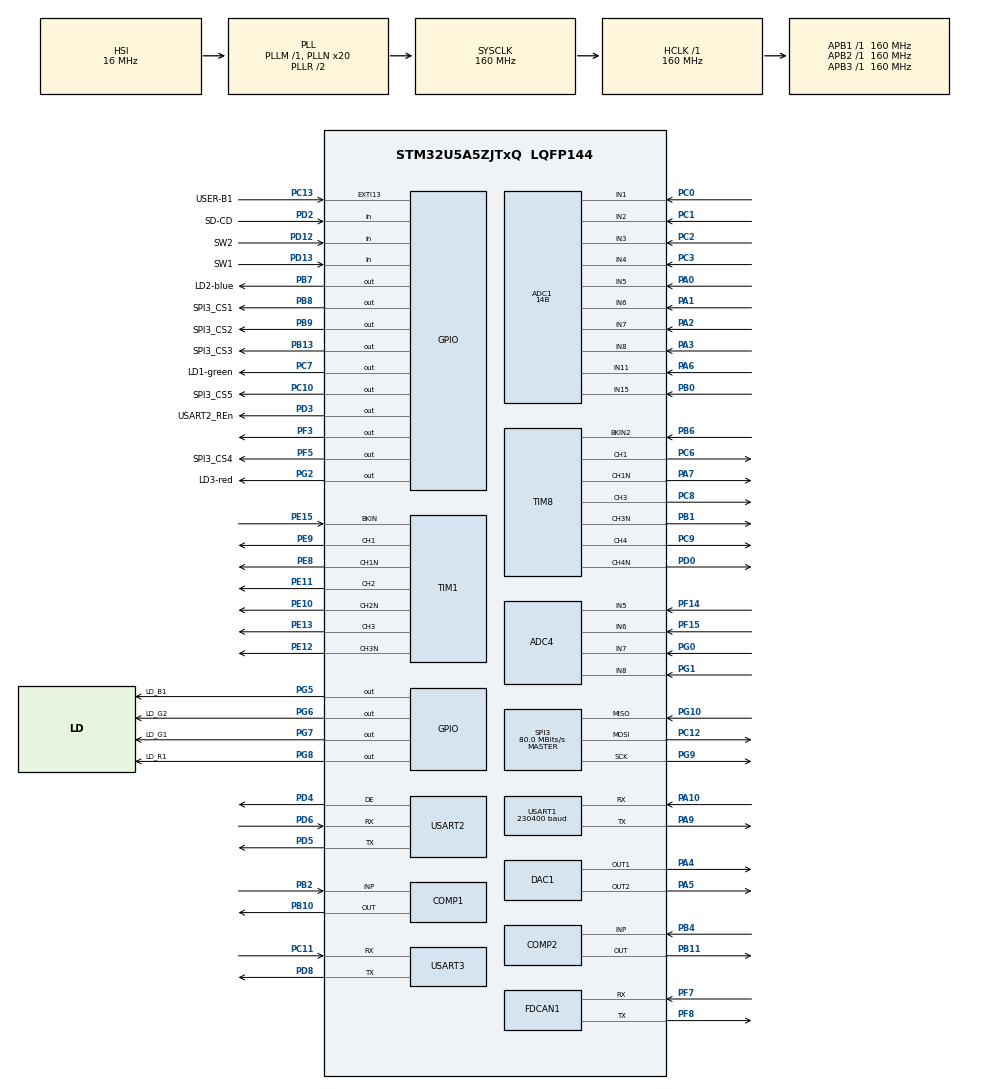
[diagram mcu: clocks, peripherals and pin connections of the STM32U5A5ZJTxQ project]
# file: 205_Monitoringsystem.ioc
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ADC1.Channel-2\#ChannelRegularConversion=ADC_CHANNEL_1
ADC1.ClockPrescaler=ADC_CLOCK_ASYNC_DIV4
ADC1.ContinuousConvMode=DISABLE
ADC1.ConversionDataManagement=ADC_CONVERSIONDATA_DMA_CIRCULAR
ADC1.EnableInjectedConversion=DISABLE
ADC1.EnableRegularConversion=ENABLE
ADC1.ExternalTrigConv=ADC_EXTERNALTRIG_T3_TRGO
ADC1.MonitoredBy-2\#ChannelRegularConversion=__NULL
ADC1.NbrOfConversionFlag=1
ADC1.OffsetNumber-2\#ChannelRegularConversion=ADC_OFFSET_NONE
ADC1.Rank-2\#ChannelRegularConversion=1
ADC1.Resolution=ADC_RESOLUTION_14B
ADC1.SamplingTime-2\#ChannelRegularConversion=ADC_SAMPLETIME_391CYCLES_5
ADC1.master=1
ADC4.Channel-0\#ChannelRegularConversion=ADC_CHANNEL_5
ADC4.ClockPrescaler=ADC_CLOCK_ASYNC_DIV4
ADC4.NbrOfConversionFlag=1
ADC4.OffsetNumber-0\#ChannelRegularConversion=ADC_OFFSET_NONE
ADC4.Rank-0\#ChannelRegularConversion=1
ADC4.RankArg-0\#ChannelRegularConversion=ADC4_REGULAR_RANK_1
ADC4.SamplingTime-0\#ChannelRegularConversion=ADC4_SAMPLINGTIME_COMMON_1
ADC4.SelectedChannel=ADC_CHANNEL_5|ADC_CHANNEL_6|ADC_CHANNEL_7|ADC_CHANNEL_8
CORTEX_M33_NS.AccessPermission-Cortex_Memory_Protection_Unit_Region0_Settings=MPU_REGION_PRIV_RO
CORTEX_M33_NS.AccessPermission-Cortex_Memory_Protection_Unit_Region1_Settings=MPU_REGION_ALL_RW
CORTEX_M33_NS.AllocateAttribute0=MPU_R_ALLOCATE
CORTEX_M33_NS.Attributes0=MPU_ATTRIBUTES_NUMBER0
CORTEX_M33_NS.Attributes1=MPU_ATTRIBUTES_NUMBER1
CORTEX_M33_NS.AttributesIndex-Cortex_Memory_Protection_Unit_Region1_Settings=MPU_ATTRIBUTES_NUMBER1
CORTEX_M33_NS.BaseAddress-Cortex_Memory_Protection_Unit_Region0_Settings=0x08000000
CORTEX_M33_NS.BaseAddress-Cortex_Memory_Protection_Unit_Region1_Settings=0x20000000
CORTEX_M33_NS.Enable-Cortex_Memory_Protection_Unit_Region0_Settings=MPU_REGION_ENABLE
CORTEX_M33_NS.Enable-Cortex_Memory_Protection_Unit_Region1_Settings=MPU_REGION_ENABLE
CORTEX_M33_NS.LimitAddress-Cortex_Memory_Protection_Unit_Region0_Settings=0x083FFFFF
CORTEX_M33_NS.LimitAddress-Cortex_Memory_Protection_Unit_Region1_Settings=0x2026FFFF
CORTEX_M33_NS.MPU_Control=MPU_PRIVILEGED_DEFAULT
CORTEX_M33_NS.Memorytype0=MPU_CACHEABLE
CORTEX_M33_NS.Number-Cortex_Memory_Protection_Unit_Region0_Settings=MPU_REGION_NUMBER0
CORTEX_M33_NS.Number-Cortex_Memory_Protection_Unit_Region1_Settings=MPU_REGION_NUMBER1
CORTEX_M33_NS.userName=CORTEX_M33
DAC1.DAC_Channel-DAC_OUT1_ExtAndInt=DAC_CHANNEL_1
DAC1.DAC_Channel-DAC_OUT2_ExtAndInt=DAC_CHANNEL_2
FDCAN1.CalculateBaudRateNominal=3333333
FDCAN1.CalculateTimeBitNominal=300
FDCAN1.CalculateTimeQuantumNominal=100.0
FLASH.B1_BLOCK_active=true
FLASH.B1_endPage=255
FLASH.B2_BLOCK_active=true
FLASH.B2_Bank=FLASH_BANK_2
FLASH.B2_endPage=255
FLASH.OB_Boot_Configuration_active_NS0=true
FLASH.OB_NSBOOTADD0_Address=0x08000000
GPDMA1.CIRCULARMODE_GPDMACH15=ENABLE
GPDMA1.DESTDATAWIDTH_GPDMACH15=DMA_DEST_DATAWIDTH_HALFWORD
GPDMA1.DESTINC_GPDMACH15=DMA_DINC_INCREMENTED
GPDMA1.IPHANDLE_GPDMACH15-SIMPLEREQUEST_GPDMACH15=__NULL
GPDMA1.REQUEST_GPDMACH15=GPDMA1_REQUEST_ADC1
GPDMA1.SRCDATAWIDTH_GPDMACH15=DMA_SRC_DATAWIDTH_HALFWORD
GPDMA1.TRIGGERPOLARITY_GPDMACH15=DMA_TRIG_POLARITY_MASKED
GTZC.MPCBB1_Area_Privilege=GTZC_MPCBB_REGION_NPRIV
GTZC.MPCBB1_Area_Privilege_Choice=from full Privileged
GTZC.MPCBB1_Area_Privilege_Size=0x000C0000
GTZC.MPCBB1_PrivConfig_array=00000000\:00000000\:00000000\:00000000\:00000000\:00000000\:00000000\:00000000\:00000000\:00000000\:00000000\:00000000\:00000000\:00000000\:00000000\:00000000\:00000000\:00000000\:00000000\:00000000\:00000000\:00000000\:00000000\:00000000\:00000000\:00000000\:00000000\:00000000\:00000000\:00000000\:00000000\:00000000\:00000000\:00000000\:00000000\:00000000\:00000000\:00000000\:00000000\:00000000\:00000000\:00000000\:00000000\:00000000\:00000000\:00000000\:00000000\:00000000
GTZC.MPCBB1_SecConfig_array=00000000\:00000000\:00000000\:00000000\:00000000\:00000000\:00000000\:00000000\:00000000\:00000000\:00000000\:00000000\:00000000\:00000000\:00000000\:00000000\:00000000\:00000000\:00000000\:00000000\:00000000\:00000000\:00000000\:00000000\:00000000\:00000000\:00000000\:00000000\:00000000\:00000000\:00000000\:00000000\:00000000\:00000000\:00000000\:00000000\:00000000\:00000000\:00000000\:00000000\:00000000\:00000000\:00000000\:00000000\:00000000\:00000000\:00000000\:00000000
GTZC.MPCBB2_Area_Privilege=GTZC_MPCBB_REGION_NPRIV
GTZC.MPCBB2_Area_Privilege_Choice=from full Privileged
GTZC.MPCBB2_Area_Privilege_Size=0x00010000
GTZC.MPCBB2_PrivConfig_array=00000000\:00000000\:00000000\:00000000\:FFFFFFFF\:FFFFFFFF\:FFFFFFFF\:FFFFFFFF\:FFFFFFFF\:FFFFFFFF\:FFFFFFFF\:FFFFFFFF\:FFFFFFFF\:FFFFFFFF\:FFFFFFFF\:FFFFFFFF\:FFFFFFFF\:FFFFFFFF\:FFFFFFFF\:FFFFFFFF\:FFFFFFFF\:FFFFFFFF\:FFFFFFFF\:FFFFFFFF\:FFFFFFFF\:FFFFFFFF\:FFFFFFFF\:FFFFFFFF\:FFFFFFFF\:FFFFFFFF\:FFFFFFFF\:FFFFFFFF\:FFFFFFFF\:FFFFFFFF\:FFFFFFFF\:FFFFFFFF\:FFFFFFFF\:FFFFFFFF\:FFFFFFFF\:FFFFFFFF\:FFFFFFFF\:FFFFFFFF\:FFFFFFFF\:FFFFFFFF\:FFFFFFFF\:FFFFFFFF\:FFFFFFFF\:FFFFFFFF\:FFFFFFFF\:FFFFFFFF\:FFFFFFFF\:FFFFFFFF
GTZC.MPCBB2_SecConfig_array=00000000\:00000000\:00000000\:00000000\:00000000\:00000000\:00000000\:00000000\:00000000\:00000000\:00000000\:00000000\:00000000\:00000000\:00000000\:00000000\:00000000\:00000000\:00000000\:00000000\:00000000\:00000000\:00000000\:00000000\:00000000\:00000000\:00000000\:00000000\:00000000\:00000000\:00000000\:00000000\:00000000\:00000000\:00000000\:00000000\:00000000\:00000000\:00000000\:00000000\:00000000\:00000000\:00000000\:00000000\:00000000\:00000000\:00000000\:00000000\:00000000\:00000000\:00000000\:00000000
GTZC.MPCBB3_Area_Privilege=GTZC_MPCBB_REGION_NPRIV
GTZC.MPCBB3_Area_Privilege_Choice=from full Privileged
GTZC.MPCBB3_Area_Privilege_Size=0x000D0000
GTZC.MPCBB3_PrivConfig_array=00000000\:00000000\:00000000\:00000000\:00000000\:00000000\:00000000\:00000000\:00000000\:00000000\:00000000\:00000000\:00000000\:00000000\:00000000\:00000000\:00000000\:00000000\:00000000\:00000000\:00000000\:00000000\:00000000\:00000000\:00000000\:00000000\:00000000\:00000000\:00000000\:00000000\:00000000\:00000000\:00000000\:00000000\:00000000\:00000000\:00000000\:00000000\:00000000\:00000000\:00000000\:00000000\:00000000\:00000000\:00000000\:00000000\:00000000\:00000000\:00000000\:00000000\:00000000\:00000000
GTZC.MPCBB3_SecConfig_array=00000000\:00000000\:00000000\:00000000\:00000000\:00000000\:00000000\:00000000\:00000000\:00000000\:00000000\:00000000\:00000000\:00000000\:00000000\:00000000\:00000000\:00000000\:00000000\:00000000\:00000000\:00000000\:00000000\:00000000\:00000000\:00000000\:00000000\:00000000\:00000000\:00000000\:00000000\:00000000\:00000000\:00000000\:00000000\:00000000\:00000000\:00000000\:00000000\:00000000\:00000000\:00000000\:00000000\:00000000\:00000000\:00000000\:00000000\:00000000\:00000000\:00000000\:00000000\:00000000
GTZC.MPCBB4_PrivConfig_array=00000000
GTZC.MPCBB4_SecConfig_array=00000000
GTZC.MPCBB5_Area_Privilege=GTZC_MPCBB_REGION_NPRIV
GTZC.MPCBB5_Area_Privilege_Choice=from full Privileged
GTZC.MPCBB5_Area_Privilege_Size=0x000D0000
GTZC.MPCBB5_PrivConfig_array=00000000\:00000000\:00000000\:00000000\:00000000\:00000000\:00000000\:00000000\:00000000\:00000000\:00000000\:00000000\:00000000\:00000000\:00000000\:00000000\:00000000\:00000000\:00000000\:00000000\:00000000\:00000000\:00000000\:00000000\:00000000\:00000000\:00000000\:00000000\:00000000\:00000000\:00000000\:00000000\:00000000\:00000000\:00000000\:00000000\:00000000\:00000000\:00000000\:00000000\:00000000\:00000000\:00000000\:00000000\:00000000\:00000000\:00000000\:00000000\:00000000\:00000000\:00000000\:00000000
GTZC.MPCBB5_SecConfig_array=00000000\:00000000\:00000000\:00000000\:00000000\:00000000\:00000000\:00000000\:00000000\:00000000\:00000000\:00000000\:00000000\:00000000\:00000000\:00000000\:00000000\:00000000\:00000000\:00000000\:00000000\:00000000\:00000000\:00000000\:00000000\:00000000\:00000000\:00000000\:00000000\:00000000\:00000000\:00000000\:00000000\:00000000\:00000000\:00000000\:00000000\:00000000\:00000000\:00000000\:00000000\:00000000\:00000000\:00000000\:00000000\:00000000\:00000000\:00000000\:00000000\:00000000\:00000000\:00000000
Mcu.Family=STM32U5
Mcu.Name=STM32U5A5ZJTxQ
Mcu.Package=LQFP144
NVIC.ADC1_2_IRQn=true\:0\:0\:false\:false\:true\:true\:true\:true
NVIC.EXTI13_IRQn=true\:2\:0\:true\:false\:true\:true\:true\:true
NVIC.GPDMA1_Channel15_IRQn=true\:0\:0\:false\:false\:true\:false\:true\:true
NVIC.PriorityGroup=NVIC_PRIORITYGROUP_4
NVIC.TIM3_IRQn=true\:1\:0\:true\:false\:true\:true\:true\:true
PA0.Mode=IN5-Single-Ended
PA0.Signal=ADC1_IN5
PA1.Mode=IN6-Single-Ended
PA1.Signal=ADC1_IN6
PA10.Mode=Asynchronous
PA10.Signal=USART1_RX
PA13\ (JTMS/SWDIO).Mode=Trace_Asynchronous_SW
PA13\ (JTMS/SWDIO).Signal=DEBUG_JTMS-SWDIO
PA14\ (JTCK/SWCLK).Mode=Trace_Asynchronous_SW
PA14\ (JTCK/SWCLK).Signal=DEBUG_JTCK-SWCLK
PA2.Mode=IN7-Single-Ended
PA2.Signal=ADC1_IN7
PA3.Mode=IN8-Single-Ended
PA3.Signal=ADC1_IN8
PA4.Signal=COMP_DAC11_group
PA5.Signal=COMP_DAC12_group
PA6.Mode=IN11-Single-Ended
PA6.Signal=ADC1_IN11
PA7.Mode=PWM Generation1 CH1 CH1N
PA7.Signal=TIM8_CH1N
PA9.Mode=Asynchronous
PA9.Signal=USART1_TX
PB0.Mode=IN15-Single-Ended
PB0.Signal=ADC1_IN15
PB1.Mode=PWM Generation3 CH3 CH3N
PB1.Signal=TIM8_CH3N
PB10.Mode=ExternalOutput
PB10.Signal=COMP1_OUT
PB11.Mode=ExternalOutput
PB11.Signal=COMP2_OUT
PB13.GPIO_Label=SPI3_CS3
PB13.Signal=GPIO_Output
PB2.Mode=INP
PB2.Signal=COMP1_INP
PB3\ (JTDO/TRACESWO).Mode=Trace_Asynchronous_SW
PB3\ (JTDO/TRACESWO).Signal=DEBUG_JTDO-SWO
PB4\ (NJTRST).Mode=INP
PB4\ (NJTRST).Signal=COMP2_INP
PB6.Mode=Activate-Break-Input-2
PB6.Signal=TIM8_BKIN2
PB7.GPIO_Label=LD2-blue
PB7.Signal=GPIO_Output
PB8.GPIO_Label=SPI3_CS1
PB8.Signal=GPIO_Output
PB9.GPIO_Label=SPI3_CS2
PB9.Signal=GPIO_Output
PC0.Mode=IN1-Single-Ended
PC0.Signal=ADC1_IN1
PC1.Mode=IN2-Single-Ended
PC1.Signal=ADC1_IN2
PC10.GPIO_Label=SPI3_CS5
PC10.Signal=GPIO_Output
PC11.Mode=Asynchronous
PC11.Signal=USART3_RX
PC12.Mode=Full_Duplex_Master
PC12.Signal=SPI3_MOSI
PC13.GPIO_Label=USER-B1
PC13.GPIO_PuPd=GPIO_NOPULL
PC13.Signal=GPXTI13
PC14-OSC32_IN\ (PC14).Mode=LSE-External-Oscillator
PC14-OSC32_IN\ (PC14).Signal=RCC_OSC32_IN
PC15-OSC32_OUT\ (PC15).Mode=LSE-External-Oscillator
PC15-OSC32_OUT\ (PC15).Signal=RCC_OSC32_OUT
PC2.Mode=IN3-Single-Ended
PC2.Signal=ADC1_IN3
PC3.Mode=IN4-Single-Ended
PC3.Signal=ADC1_IN4
PC6.Signal=S_TIM8_CH1
PC7.GPIO_Label=LD1-green
PC7.Signal=GPIO_Output
PC8.Signal=S_TIM8_CH3
PC9.Signal=S_TIM8_CH4
PD0.Mode=PWM Generation4 CH4 CH4N
PD0.Signal=TIM8_CH4N
PD12.GPIO_Label=SW2
PD12.Signal=GPIO_Input
PD13.GPIO_Label=SW1
PD13.Signal=GPIO_Input
PD2.GPIO_Label=SD-CD
PD2.Signal=GPIO_Input
PD3.GPIO_Label=USART2_REn
PD3.Signal=GPIO_Output
PD4.Mode=Hardware Flow Control (RS485)
PD4.Signal=USART2_DE
PD5.Mode=Asynchronous
PD5.Signal=USART2_TX
PD6.Mode=Asynchronous
PD6.Signal=USART2_RX
PD8.Mode=Asynchronous
PD8.Signal=USART3_TX
PE10.Mode=PWM Generation2 CH2 CH2N
PE10.Signal=TIM1_CH2N
PE11.Signal=S_TIM1_CH2
PE12.Mode=PWM Generation3 CH3 CH3N
PE12.Signal=TIM1_CH3N
PE13.Signal=S_TIM1_CH3
PE15.Mode=Activate-Break-Input
PE15.Signal=TIM1_BKIN
PE8.Mode=PWM Generation1 CH1 CH1N
PE8.Signal=TIM1_CH1N
PE9.Signal=S_TIM1_CH1
PF14.Mode=IN5
PF14.Signal=ADC4_IN5
PF15.Mode=IN6
PF15.Signal=ADC4_IN6
PF3.Signal=GPIO_Output
PF5.GPIO_Label=SPI3_CS4
PF5.Signal=GPIO_Output
PF7.Mode=FDCAN_Activate
PF7.Signal=FDCAN1_RX
PF8.Mode=FDCAN_Activate
PF8.Signal=FDCAN1_TX
PG0.Mode=IN7
PG0.Signal=ADC4_IN7
PG1.Mode=IN8
PG1.Signal=ADC4_IN8
PG10.Mode=Full_Duplex_Master
PG10.Signal=SPI3_MISO
PG2.GPIO_Label=LD3-red
PG2.Signal=GPIO_Output
PG5.GPIO_Label=LD_B1
PG5.Signal=GPIO_Output
PG6.GPIO_Label=LD_G2
PG6.Signal=GPIO_Output
PG7.GPIO_Label=LD_G1
PG7.Signal=GPIO_Output
PG8.GPIO_Label=LD_R1
PG8.Signal=GPIO_Output
PG9.Mode=Full_Duplex_Master
PG9.Signal=SPI3_SCK
PWR.PowerMode=PWR_SMPS_SUPPLY
ProjectManager.HeapSize=0x2000
ProjectManager.StackSize=0x2000
ProjectManager.TargetToolchain=STM32CubeIDE
RCC.ADCCLockSelection=RCC_ADCDACCLKSOURCE_SYSCLK
RCC.ADCFreq_Value=160000000
RCC.AHBFreq_Value=160000000
RCC.APB1Freq_Value=160000000
RCC.APB1TimFreq_Value=160000000
RCC.APB2Freq_Value=160000000
RCC.APB2TimFreq_Value=160000000
RCC.APB3Freq_Value=160000000
RCC.CortexFreq_Value=160000000
RCC.DACCLockSelectionVirtual=RCC_DAC1CLKSOURCE_LSI
RCC.EPOD_VALUE=16000000
RCC.HCLKFreq_Value=160000000
RCC.HSE_VALUE=16000000
RCC.HSI48_VALUE=48000000
RCC.HSI_VALUE=16000000
RCC.LSIDIV_VALUE=32000
RCC.MSIClockRange=RCC_MSIRANGE_0
RCC.MSI_VALUE=48000000
RCC.PLLFRACN=0
RCC.PLLN=20
RCC.PLLSourceVirtual=RCC_PLLSOURCE_HSI
RCC.SYSCLKFreq_VALUE=160000000
RCC.SYSCLKSource=RCC_SYSCLKSOURCE_PLLCLK
RCC.USBPHYCLockSelection=RCC_USBPHYCLKSOURCE_HSE
RCC.VCOOutputFreq_Value=320000000
SH.COMP_DAC11_group.0=DAC1_OUT1,DAC_OUT1_ExtAndInt
SH.COMP_DAC12_group.0=DAC1_OUT2,DAC_OUT2_ExtAndInt
SH.S_TIM1_CH1.0=TIM1_CH1,PWM Generation1 CH1 CH1N
SH.S_TIM1_CH2.0=TIM1_CH2,PWM Generation2 CH2 CH2N
SH.S_TIM1_CH3.0=TIM1_CH3,PWM Generation3 CH3 CH3N
SH.S_TIM8_CH1.0=TIM8_CH1,PWM Generation1 CH1 CH1N
SH.S_TIM8_CH3.0=TIM8_CH3,PWM Generation3 CH3 CH3N
SH.S_TIM8_CH4.0=TIM8_CH4,PWM Generation4 CH4 CH4N
SPI3.CalculateBaudRate=80.0 MBits/s
SPI3.Direction=SPI_DIRECTION_2LINES
SPI3.Mode=SPI_MODE_MASTER
SPI3.VirtualType=VM_MASTER
STMicroelectronics.X-CUBE-ALGOBUILD.1.4.0.LibraryCcDSPOoLibraryJjDSPOoLibrary=true
TIM1.Channel-PWM\ Generation1\ CH1\ CH1N=TIM_CHANNEL_1
TIM1.Channel-PWM\ Generation2\ CH2\ CH2N=TIM_CHANNEL_2
TIM1.Channel-PWM\ Generation3\ CH3\ CH3N=TIM_CHANNEL_3
TIM1.SourceBRK2COMP1=TIM_BREAKINPUTSOURCE_DISABLE
TIM1.SourceBRKCOMP1=TIM_BREAKINPUTSOURCE_ENABLE
TIM3.PeriodNoDither=100 - 1
TIM3.Prescaler=20 - 1
TIM3.TIM_MasterOutputTrigger=TIM_TRGO_UPDATE
TIM8.AutomaticOutput=TIM_AUTOMATICOUTPUT_DISABLE
TIM8.Channel-PWM\ Generation1\ CH1\ CH1N=TIM_CHANNEL_1
TIM8.Channel-PWM\ Generation3\ CH3\ CH3N=TIM_CHANNEL_3
TIM8.Channel-PWM\ Generation4\ CH4\ CH4N=TIM_CHANNEL_4
TIM8.SourceBRK2COMP2=TIM_BREAKINPUTSOURCE_ENABLE
TIM8.SourceBRKCOMP2=TIM_BREAKINPUTSOURCE_ENABLE
USART1.BaudRate=230400
USART1.OverSampling=UART_OVERSAMPLING_16
USART1.VirtualMode-Asynchronous=VM_ASYNC
USART2.VirtualMode-Asynchronous=VM_ASYNC
USART2.VirtualMode-Hardware\ Flow\ Control\ (RS485)=VM_ASYNC
USART3.VirtualMode-Asynchronous=VM_ASYNC
VP_COMP1_VS_DACOUT1.Mode=INM_DACOUT1
VP_COMP2_VS_DACOUT2.Mode=INM_DACOUT2
VP_FLASH_SIG_Activate_FlashIP.Mode=Activate_FlashIP
VP_GPDMA1_VS_GPDMACH15.Mode=SIMPLEREQUEST_GPDMACH15
VP_GTZC_VS_GTZC_Enable.Mode=GTZC_Enable
VP_ICACHE_VS_ICACHE.Mode=DirectMappedCache
VP_LPBAMQUEUE_VS_QUEUE.Mode=QUEUEMODE
VP_MEMORYMAP_VS_MEMORYMAP.Mode=CurAppReg
VP_PWR_VS_DBSignals.Mode=DisableDeadBatterySignals
VP_PWR_VS_LPOM.Mode=PowerOptimisation
VP_PWR_VS_SECSignals.Mode=Security/Privilege
VP_PWR_Vdda.Mode=isolationVdda
VP_STMicroelectronics.X-CUBE-ALGOBUILD_VS_DSPOoLibraryJjLibrary_1.4.0_1.4.0.Mode=DSPOoLibraryJjLibrary
VP_TIM1_VS_ClockSourceINT.Mode=Internal
VP_TIM3_VS_ClockSourceINT.Mode=Internal
board=NUCLEO-U5A5ZJ-Q

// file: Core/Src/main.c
/* USER CODE BEGIN Header */
/**
 * @file main.c
 * @brief <b>Monitoringsystem für Medicoat</b>
 * @author Raphael Baumeler
 * @date 09.04.2026
 *
 * - Das Monitoringsystem wird über den blauen Button gestartet (SWV Output beachten)
 * - Das ADC Sampling erfolgt mit 80 kHz am PC0 bzw. Pin A5 vom CN9
 * - Die Samplingfrequenz kann am PF3 gemessen werden
 * - Nach dem Sampling wird die FFT berechnet
 *
 * @note Aufgrund der hohen Abtastfrequenz muss vor PC0 ein Buffer geschaltet werden, welcher den ADC Pin treibt!
 */
/* USER CODE END Header */
#include "main.h"
#include "adc.h"
#include "comp.h"
#include "dac.h"
#include "fdcan.h"
#include "flash.h"
#include "gpdma.h"
#include "gtzc.h"
#include "icache.h"
#include "spi.h"
#include "tim.h"
#include "usart.h"
#include "gpio.h"

/* USER CODE BEGIN Includes */
// FFT
#include <stdio.h>
#include <stdlib.h>
#include <math.h>
#include "arm_math.h"
#include "complex.h"
#include "fft.h"
// Konsole
#include "konsole.h"
/* USER CODE END Includes */

/* USER CODE BEGIN PD */
/**
 * @brief Buffer Grösse in Samples.
 * @note Für eine effiziente Berechnung der FFT muss dieser Wert N = 2^Y sein (Y = 1,2,3...).
 */
#define N 65536
/* USER CODE END PD */

/* USER CODE BEGIN PV */
/**
 * @brief Quadrant Nummer DMA Übertragung
 */
int qNr = 1;
/**
 * @brief Array für Zeitsignal (dt = 1/80kHz)
 */
float z[N];
/**
 * @brief Array Komplexe Fourier Koeffizienten (df = 80kHz/N)
 */
Complex c[N];
/**
 * @brief Betrag komplexer Fourierkoeffizienten (df = 80kHz/N)
 * @note Achtung das sind die Beträge der komplexen Fourierkoeffizienten!<br>
 * Für das einseitige Amplitudenspektrum müssen diese umgerechnet werden!<br>
 * A0 = c0, An = |2*cn| mit n = 1,2,3...N/2 <br>
 * phiN = arg(an -j*bn)
 */
float a[N];
/**
 * @brief ADC Werte
 */
uint16_t adc_val[N];
/**
 * @brief Clear Putty Konsole
 */
uint8_t clear[] = "\033[2J\033[H\r\n";
/* USER CODE END PV */

void SystemClock_Config(void);
static void SystemPower_Config(void);
static void MPU_Config(void);
/* USER CODE BEGIN PFP */
/**
 * @brief ADC Callback. Wenn der DMA die Daten übertragen hat wird diese Funktion aufgerufen.
 *
 * @param hadc Zeiger auf ADC Handle
 * @note Pro DMA Übertragung können maximal 2^14 = 16384 Werte übertragen werden. Wenn DMA gestartet
 * wird z.B. via HAL_ADC_Start_DMA(&hadc1, (uint32_t*) adc_val, N); muss beachtet werden, dass N <= 16384!
 * Wenn dem nicht so ist, müssen die DMA übertragungen auf mehrere Übertragungen aufgeteilt werden!
 * Beispiel:
 *	1. HAL_ADC_Start_DMA(&hadc1, (uint32_t*) &adc_val[0], (N/2));<br>
 *	Sobald 1. Übertragung abgeschlossen ist 2. Übertragung starten.<br>
 *	2. HAL_ADC_Start_DMA(&hadc1, (uint32_t*) &adc_val[N/2], (N/2));
 */
void HAL_ADC_ConvCpltCallback(ADC_HandleTypeDef *hadc);

/**
 * @brief Timer Callback. Der Timer 3 triggert den ADC und toggelt PF3.
 *
 * @param htim Zeiger auf Timer Handle
 * @note Dieser Callback Triggert den ADC für eine konstante Abtastfrequenz. Diese Frequenz kann über die PSC und ARR
 * Werte verändert werden. Er soll nur verwendet werden, wenn die Abtastfrequenz am Oszilloskop
 * überprüft werden soll, da damit die CPU bei hoher Triggerfrequenz stark ausgelastet wird.
 */
void HAL_TIM_PeriodElapsedCallback(TIM_HandleTypeDef *htim);

/**
 * @brief GPIO Callback. Wenn der User B1 (blau) auf dem NUCLEO Board gedrückt wird, wird dieser Callback
 * aufgerufen.
 *
 * @param GPIO_Pin
 * @note In diesem Callback wird nacheinander das ADC Sampling gestartet und die FFT ausgeführt. Was genau passiert
 * kann mit der SWV Konsole überprüft werden.
 */
void HAL_GPIO_EXTI_Rising_Callback(uint16_t GPIO_Pin);
/* USER CODE END PFP */

int main(void)
{

  /* MCU Configuration--------------------------------------------------------*/

  /* MPU Configuration--------------------------------------------------------*/
  MPU_Config();

  /* Reset of all peripherals, Initializes the Flash interface and the Systick. */
  HAL_Init();

  /* Configure the System Power */
  SystemPower_Config();

  /* Configure the system clock */
  SystemClock_Config();
  /* GTZC initialisation */
  MX_GTZC_Init();

  /* Initialize all configured peripherals */
  MX_GPIO_Init();
  MX_GPDMA1_Init();
  MX_ICACHE_Init();
  MX_FLASH_Init();
  MX_ADC1_Init();
  MX_ADC4_Init();
  MX_COMP1_Init();
  MX_COMP2_Init();
  MX_DAC1_Init();
  MX_FDCAN1_Init();
  MX_TIM1_Init();
  MX_TIM8_Init();
  MX_USART3_UART_Init();
  MX_USART1_UART_Init();
  MX_TIM3_Init();
  MX_SPI3_Init();
  MX_USART2_UART_Init();
  /* USER CODE BEGIN 2 */

	// printf()
	_print("Start Monitoringsystem\r\n");
	_print("*****************************\r\n");

	// Clear PUTTY Konsole
	HAL_UART_Transmit(&huart1, clear, sizeof(clear)-1, 1000);

  /* USER CODE END 2 */

  /* Infinite loop */
  /* USER CODE BEGIN WHILE */
	while (1) {
		// FFT
		// Sampling fertig -> FFT
		if (qNr == 5) {
			_print("Berechne FFT\r\n");
			calc_voltage(adc_val, z, (int) N);
			make_complex(z, c, (int) N);
			fft(c, (int) N);
			scale(c, (int) N);
			abs_val(c, a, (int) N);

			// FFT fertig
			HAL_GPIO_WritePin(LD1_green_GPIO_Port, LD1_green_Pin, 1);
			_print("FFT berechnet!\n");

			// Daten übertragen
			qNr = 6;
		}

		// Delay
		HAL_Delay(200);

		// FFT Daten übertragen
		if (qNr == 6)
		{
			// Übertrage FFt Daten!
			_print("Uebertrage FFT Daten\n");

			// Daten nach .csv übertragen
			char header[] = "f,Ampl\r\n";
			HAL_UART_Transmit(&huart1, (uint8_t*)header, strlen(header), 1000);

			for (int i = 0; i < N/2; i++) {
			    // float freq = i * (80000.0f / N);   // df = fs/N
			    char line[64];

			    // Kpmplexe Amplituden in reale Amplituden umrechnen und Daten übertragen
			    if (i==0) // A0 = c0
			    {
				    int len = sprintf(line, "%f\r\n", a[i]);
				    HAL_UART_Transmit(&huart1, (uint8_t*)line, len, 1000);
			    }
			    else // An = |2*cn| mit n = 1,2,3...N/2
			    {
				    int len = sprintf(line, "%f\r\n", 2*a[i]);
				    HAL_UART_Transmit(&huart1, (uint8_t*)line, len, 1000);
			    }

			}

			// FFT Daten übertragen
			_print("FFT Daten uebertagen!\n");
			_print("*****************************\r\n");

			// Reset
			qNr = 1;

			// Button Interrupt enablen
			HAL_NVIC_EnableIRQ(EXTI13_IRQn);
		}

    /* USER CODE END WHILE */

	}
}

void SystemClock_Config(void)
{
  RCC_OscInitTypeDef RCC_OscInitStruct = {0};
  RCC_ClkInitTypeDef RCC_ClkInitStruct = {0};

  /** Configure the main internal regulator output voltage
  */
  if (HAL_PWREx_ControlVoltageScaling(PWR_REGULATOR_VOLTAGE_SCALE1) != HAL_OK)
  {
    Error_Handler();
  }

  /** Initializes the CPU, AHB and APB buses clocks
  */
  RCC_OscInitStruct.OscillatorType = RCC_OSCILLATORTYPE_HSI|RCC_OSCILLATORTYPE_LSI;
  RCC_OscInitStruct.HSIState = RCC_HSI_ON;
  RCC_OscInitStruct.HSICalibrationValue = RCC_HSICALIBRATION_DEFAULT;
  RCC_OscInitStruct.LSIState = RCC_LSI_ON;
  RCC_OscInitStruct.LSIDiv = RCC_LSI_DIV1;
  RCC_OscInitStruct.PLL.PLLState = RCC_PLL_ON;
  RCC_OscInitStruct.PLL.PLLSource = RCC_PLLSOURCE_HSI;
  RCC_OscInitStruct.PLL.PLLMBOOST = RCC_PLLMBOOST_DIV1;
  RCC_OscInitStruct.PLL.PLLM = 1;
  RCC_OscInitStruct.PLL.PLLN = 20;
  RCC_OscInitStruct.PLL.PLLP = 2;
  RCC_OscInitStruct.PLL.PLLQ = 2;
  RCC_OscInitStruct.PLL.PLLR = 2;
  RCC_OscInitStruct.PLL.PLLRGE = RCC_PLLVCIRANGE_1;
  RCC_OscInitStruct.PLL.PLLFRACN = 0;
  if (HAL_RCC_OscConfig(&RCC_OscInitStruct) != HAL_OK)
  {
    Error_Handler();
  }

  /** Initializes the CPU, AHB and APB buses clocks
  */
  RCC_ClkInitStruct.ClockType = RCC_CLOCKTYPE_HCLK|RCC_CLOCKTYPE_SYSCLK
                              |RCC_CLOCKTYPE_PCLK1|RCC_CLOCKTYPE_PCLK2
                              |RCC_CLOCKTYPE_PCLK3;
  RCC_ClkInitStruct.SYSCLKSource = RCC_SYSCLKSOURCE_PLLCLK;
  RCC_ClkInitStruct.AHBCLKDivider = RCC_SYSCLK_DIV1;
  RCC_ClkInitStruct.APB1CLKDivider = RCC_HCLK_DIV1;
  RCC_ClkInitStruct.APB2CLKDivider = RCC_HCLK_DIV1;
  RCC_ClkInitStruct.APB3CLKDivider = RCC_HCLK_DIV1;

  if (HAL_RCC_ClockConfig(&RCC_ClkInitStruct, FLASH_LATENCY_4) != HAL_OK)
  {
    Error_Handler();
  }
}

/**
  * @brief Power Configuration
  * @retval None
  */
static void SystemPower_Config(void)
{
  HAL_PWREx_EnableVddIO2();

  /*
   * Disable the internal Pull-Up in Dead Battery pins of UCPD peripheral
   */
  HAL_PWREx_DisableUCPDDeadBattery();

  /*
   * Switch to SMPS regulator instead of LDO
   */
  if (HAL_PWREx_ConfigSupply(PWR_SMPS_SUPPLY) != HAL_OK)
  {
    Error_Handler();
  }
}

/* USER CODE BEGIN 4 */

void HAL_ADC_ConvCpltCallback(ADC_HandleTypeDef *hadc) {
	switch (qNr) {
	case 1:
		// Erster Viertel übertragen -> zweiter Viertel starten
		HAL_ADC_Stop_DMA(&hadc1);
		HAL_ADC_Start_DMA(&hadc1, (uint32_t*) &adc_val[(1 * N) / 4],
				(int) (N / 4));
		qNr = 2;
		break;
	case 2:
		// Zweiter Viertel übertragen -> dritter Viertel starten
		HAL_ADC_Stop_DMA(&hadc1);
		HAL_ADC_Start_DMA(&hadc1, (uint32_t*) &adc_val[(2 * N) / 4],
				(int) (N / 4));
		qNr = 3;
		break;
	case 3:
		// Dritter Viertel übertragen -> Letzer Viertel starten
		HAL_ADC_Stop_DMA(&hadc1);
		HAL_ADC_Start_DMA(&hadc1, (uint32_t*) &adc_val[(3 * N) / 4],
				(int) (N / 4));
		qNr = 4;
		break;
	case 4:
		// Buffer komplett gefüllt
		HAL_ADC_Stop_DMA(&hadc1);
		HAL_TIM_Base_Stop_IT(&htim3);
		qNr = 5;
		break;
	}
}

void HAL_TIM_PeriodElapsedCallback(TIM_HandleTypeDef *htim) {
	// PF3 Toggeln
	HAL_GPIO_TogglePin(GPIOF, GPIO_PIN_3);
}

void HAL_GPIO_EXTI_Rising_Callback(uint16_t GPIO_Pin) {
	// ADC Trigger und DMA starten
	HAL_TIM_Base_Start_IT(&htim3);
	HAL_ADC_Start_DMA(&hadc1, (uint32_t*) &adc_val[0], (int) (N / 4));

	// Konsole
	_print("ADC Sampling\r\n");

	// Button Interrupt disablen
	HAL_NVIC_DisableIRQ(EXTI13_IRQn);
}

/* USER CODE END 4 */

 /* MPU Configuration */

void MPU_Config(void)
{
  MPU_Region_InitTypeDef MPU_InitStruct = {0};
  MPU_Attributes_InitTypeDef MPU_AttributesInit = {0};

  /* Disables the MPU */
  HAL_MPU_Disable();

  /** Initializes and configures the Region 0 and the memory to be protected
  */
  MPU_InitStruct.Enable = MPU_REGION_ENABLE;
  MPU_InitStruct.Number = MPU_REGION_NUMBER0;
  MPU_InitStruct.BaseAddress = 0x08000000;
  MPU_InitStruct.LimitAddress = 0x083FFFFF;
  MPU_InitStruct.AttributesIndex = MPU_ATTRIBUTES_NUMBER0;
  MPU_InitStruct.AccessPermission = MPU_REGION_PRIV_RO;
  MPU_InitStruct.DisableExec = MPU_INSTRUCTION_ACCESS_ENABLE;
  MPU_InitStruct.IsShareable = MPU_ACCESS_NOT_SHAREABLE;

  HAL_MPU_ConfigRegion(&MPU_InitStruct);

  /** Initializes and configures the Region 1 and the memory to be protected
  */
  MPU_InitStruct.Number = MPU_REGION_NUMBER1;
  MPU_InitStruct.BaseAddress = 0x20000000;
  MPU_InitStruct.LimitAddress = 0x2026FFFF;
  MPU_InitStruct.AttributesIndex = MPU_ATTRIBUTES_NUMBER1;
  MPU_InitStruct.AccessPermission = MPU_REGION_ALL_RW;

  HAL_MPU_ConfigRegion(&MPU_InitStruct);

  /** Initializes and configures the Attribute 0 and the memory to be protected
  */
  MPU_AttributesInit.Number = MPU_ATTRIBUTES_NUMBER0;
  MPU_AttributesInit.Attributes = INNER_OUTER(MPU_WRITE_THROUGH|MPU_TRANSIENT
                              |MPU_R_ALLOCATE);

  HAL_MPU_ConfigMemoryAttributes(&MPU_AttributesInit);

  /** Initializes and configures the Attribute 1 and the memory to be protected
  */
  MPU_AttributesInit.Number = MPU_ATTRIBUTES_NUMBER1;
  MPU_AttributesInit.Attributes = INNER_OUTER(MPU_NOT_CACHEABLE);

  HAL_MPU_ConfigMemoryAttributes(&MPU_AttributesInit);
  /* Enables the MPU */
  HAL_MPU_Enable(MPU_PRIVILEGED_DEFAULT);

}

void Error_Handler(void)
{
	__disable_irq();
	while (1) {
	}
}
